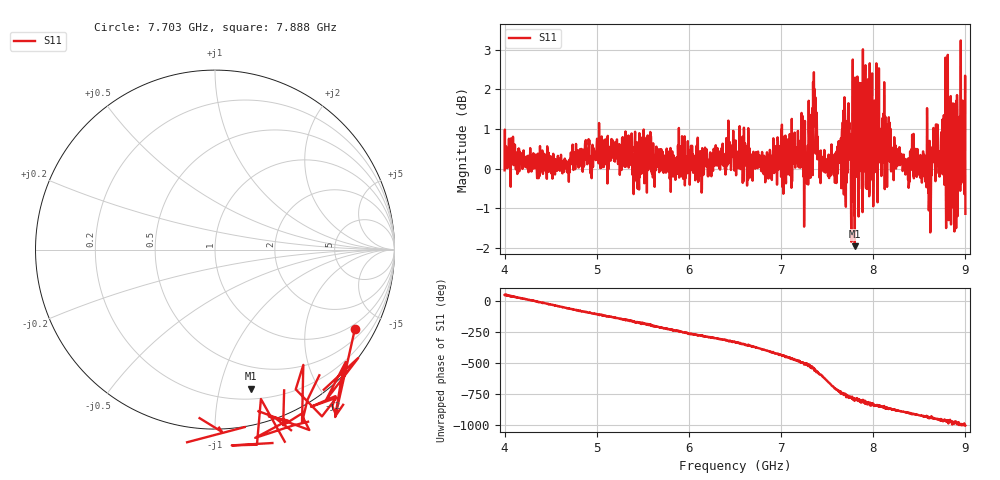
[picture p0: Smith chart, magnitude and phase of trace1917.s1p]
! Created with skrf 1.8.0 (http://scikit-rf.org).
# Hz S RI R 50.0
!freq ReS11 ImS11
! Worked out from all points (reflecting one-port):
!   1601 points, 4 GHz to 9 GHz, reference 50 ohm
!   lowest |S11| = -1.9 dB at 7.8 GHz (marker M1), VSWR 8.95, Z = 14.6 - j62.3 ohm
!   phase of S11 starts at 51 deg and turns -1053 deg over the sweep
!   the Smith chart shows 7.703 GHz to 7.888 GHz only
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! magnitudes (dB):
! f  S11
! 4 GHz  0.0
! 4.625 GHz  -0.1
! 5.25 GHz  -0.2
! 5.875 GHz  0.1
! 6.5 GHz  0.3
! 7.125 GHz  0.9
! 7.222 GHz  1.4
! 7.269 GHz  0.0
! 7.359 GHz  1.6
! 7.441 GHz  0.1
! 7.75 GHz  0.2
! 7.775 GHz  1.3
! 7.8 GHz  -1.9
! 7.844 GHz  1.1
! 7.859 GHz  2.0
! 7.928 GHz  0.2
! 7.944 GHz  2.3
! 7.962 GHz  2.7
! 7.981 GHz  0.1
! 8.038 GHz  0.6
! 8.375 GHz  0.0
! 8.438 GHz  0.9
! 8.622 GHz  -1.5
! 8.675 GHz  -0.3
! 8.822 GHz  1.1
! 8.875 GHz  0.4
! 8.972 GHz  0.8
! 9 GHz  -1.1
